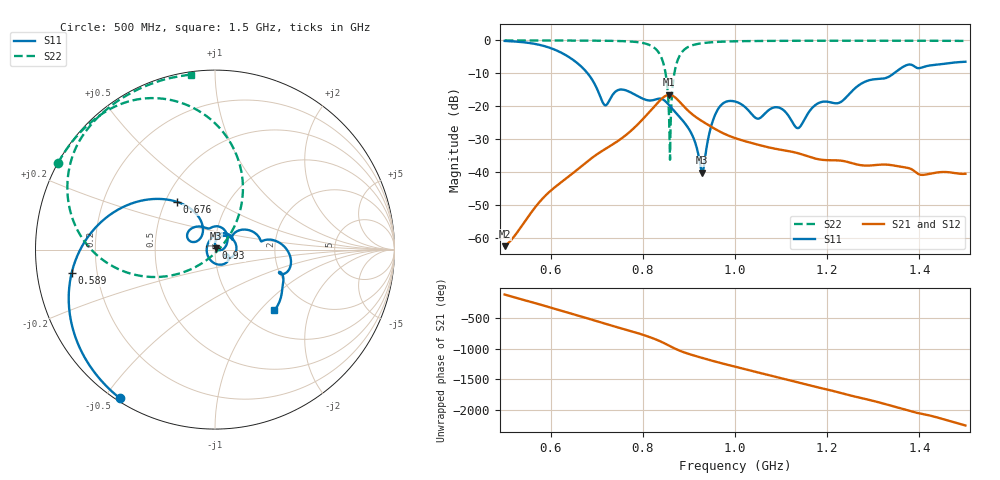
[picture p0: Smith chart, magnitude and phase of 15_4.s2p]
! TOUCHSTONE file generated by CST MICROWAVE STUDIO
! Date and time: Fri Oct  2 16:56:16 2020
! Project name: Scenario_1_Free_Space_out_of_line.cst
! Parameters = {Lambda=346.42; Step_1=17.321; dy1=104.866; dx1=693; L_HA=400; MT=2.54; Rad_Dielectric=30; Rad_Lower=7.3; Rad_Upper=30; a_HA=580; a_WG=246; b_HA=500; b_WG=121; c_HA=0; c_WG=187; d_feed=85; h_feed=15; h_lower=18; h_upper=40}
! Header version: 2018
! Port assignment regex: !\s*Touchstone port\s*([0-9]+)\s*=\s*(CST MWS port|CST DS port)\s*([0-9]+|Zmin|Zmax)\s*\(\"(.*)\"\)(\s*mode\s*([0-9]+))?.*
! Touchstone port assignment:
! Touchstone port 1 = CST MWS port 1 ("")
! Touchstone port 2 = CST MWS port 2 ("")
# GHz S DB R 50
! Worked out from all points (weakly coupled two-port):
!   1003 points, 500 MHz to 1.5 GHz, reference 50 ohm
!   highest |S21| = -16.55 dB at 857 MHz (marker M1); lowest = -62.6 dB at 500 MHz (marker M2)
!   lowest |S11| = -40.3 dB at 929 MHz (marker M3), VSWR 1.02, Z = 50.7 + j0.652 ohm
!   |S11| at or under -10 dB: 680.1 MHz to 1.345 GHz (664.9 MHz wide, 65.7 % of centre)
!   |S22| runs from -36.3 to 0.0 dB; largest |S21 - S12| = 1.4e-05
!   S11 on the Smith chart (normalised r, x): 500 MHz: 0.01, -0.55; 589 MHz: 0.11, -0.08; 676 MHz: 0.57, +0.35; 930 MHz: 1.01, +0.02; 1.5 GHz: 1.38, -1.21
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0.5  -0.15 -122.6  -62.60 -118.9  -62.60 -118.9  -0.01 151.1
0.589  -1.83 -170.7  -47.16 51.8  -47.16 51.8  -0.02 144.9
0.667  -8.03 135.0  -38.24 -118.8  -38.24 -118.8  -0.04 138.3
0.676  -9.33 128.7  -37.21 -139.1  -37.21 -139.1  -0.05 137.4
0.718  -19.73 140.4  -33.07 125.2  -33.07 125.2  -0.10 132.5
0.751  -14.94 147.3  -30.10 54.0  -30.10 54.0  -0.19 127.2
0.808  -18.13 108.6  -22.73 -75.4  -22.73 -75.4  -1.06 108.5
0.834  -17.72 87.7  -18.71 -149.9  -18.71 -149.9  -3.59 86.5
0.848  -18.40 63.0  -16.98 161.4  -16.98 161.4  -8.98 64.1
0.857  -19.69 48.8  -16.55 126.7  -16.55 126.7  -23.70 36.2
0.879  -23.17 23.0  -18.56 47.5  -18.56 47.5  -4.88 -170.2
0.908  -29.06 -3.9  -22.56 -27.7  -22.56 -27.7  -1.44 163.5
0.929  -40.27 41.5  -24.61 -74.1  -24.61 -74.1  -0.84 154.7
0.93  -40.05 51.9  -24.70 -76.3  -24.70 -76.3  -0.82 154.4
0.959  -21.97 66.4  -27.12 -137.1  -27.12 -137.1  -0.46 147.0
1  -18.58 -4.3  -29.71 143.9  -29.71 143.9  -0.26 140.2
1.049  -23.80 -28.1  -31.70 51.1  -31.70 51.1  -0.17 134.4
1.098  -20.57 -60.7  -33.24 -40.6  -33.24 -40.6  -0.12 129.8
1.136  -26.69 178.9  -34.29 -114.1  -34.29 -114.1  -0.11 126.6
1.167  -20.61 73.6  -35.67 -172.0  -35.67 -172.0  -0.09 124.1
1.334  -11.03 10.8  -37.85 -123.6  -37.85 -123.6  -0.09 111.4
1.5  -6.49 -45.6  -40.57 -95.9  -40.57 -95.9  -0.14 97.8
